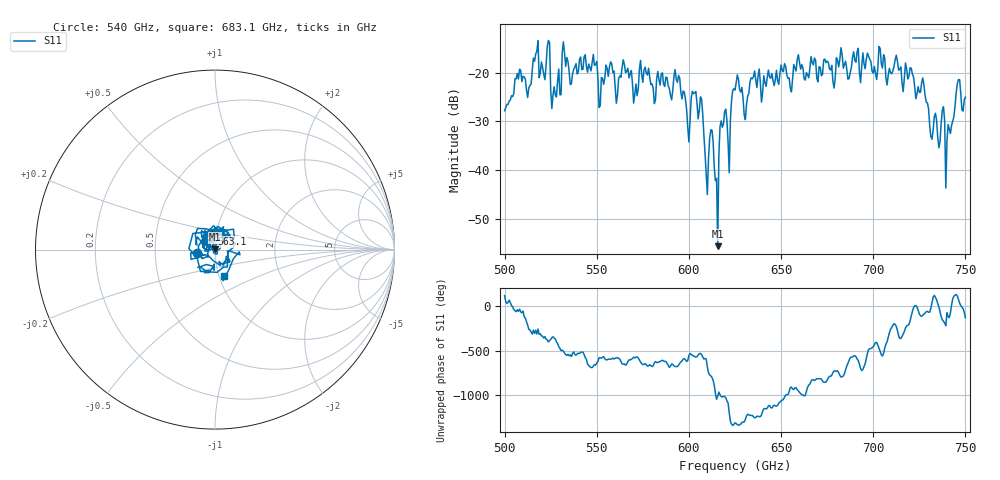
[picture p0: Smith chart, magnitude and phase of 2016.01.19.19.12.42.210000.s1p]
!Created with skrf (http://scikit-rf.org).
# GHz S RI R 50.0
!freq ReS11 ImS11
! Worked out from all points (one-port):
!   401 points, 500 GHz to 750 GHz, reference 50 ohm
!   lowest |S11| = -55.6 dB at 615.6 GHz (marker M1), VSWR 1.00, Z = 50.1 + j0.158 ohm
!   |S11| at or under -10 dB: start of sweep to end of sweep
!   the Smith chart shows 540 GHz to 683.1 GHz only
!   S11 on the Smith chart (normalised r, x): 540 GHz: 0.82, -0.04; 563.1 GHz: 0.95, +0.17; 683.1 GHz: 1.06, -0.31
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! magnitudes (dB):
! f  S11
! 500 GHz  -27.8
! 507.5 GHz  -21.3
! 513.1 GHz  -23.1
! 516.9 GHz  -16.2
! 523.8 GHz  -13.4
! 526.9 GHz  -22.9
! 531.2 GHz  -16.0
! 540 GHz  -19.9
! 562.5 GHz  -20.7
! 563.1 GHz  -20.9
! 593.8 GHz  -22.0
! 599.4 GHz  -31.2
! 606.2 GHz  -25.0
! 609.4 GHz  -41.0
! 611.9 GHz  -31.7
! 615.6 GHz  -55.6
! 618.1 GHz  -31.2
! 621.9 GHz  -40.5
! 625 GHz  -23.6
! 630.6 GHz  -29.6
! 634.4 GHz  -21.3
! 656.2 GHz  -21.3
! 683.1 GHz  -16.3
! 687.5 GHz  -20.0
! 718.8 GHz  -21.3
! 740.6 GHz  -30.6
! 745.6 GHz  -22.3
! 750 GHz  -25.0
